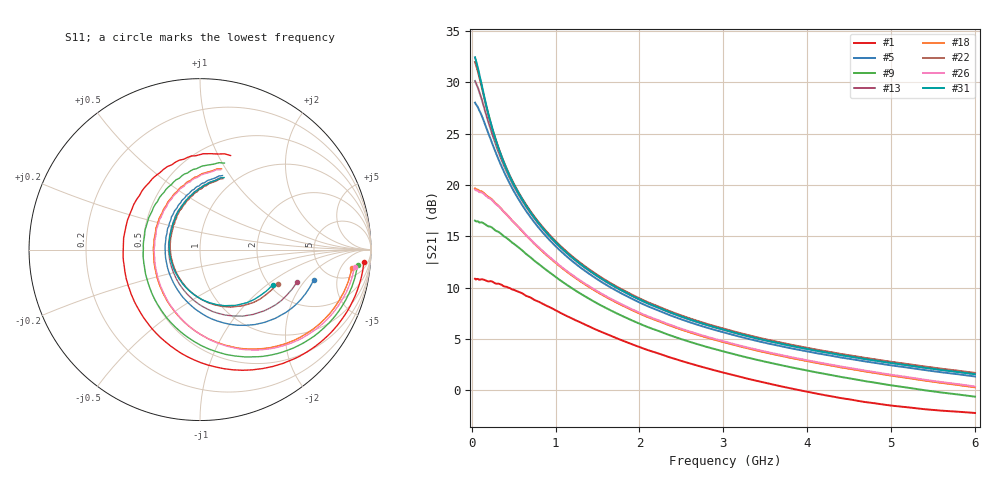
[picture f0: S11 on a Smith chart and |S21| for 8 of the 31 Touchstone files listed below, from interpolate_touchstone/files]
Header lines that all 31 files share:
! MDIF S-parameter v. bias file
! Device data file deembeded for feedlines and parallel
! Feed-files: PR017V01_150413_Feed1.s2p, PR017V01_150413_Feed2.s2p
! Parallel-file: PR017V01_150413_Par.s2p
# MHz S MA R 50
!  Freq-MHz  S11-mag  S11-arg  S21-mag  S21-arg  S12-mag  S12-arg  S22-mag  S22-arg
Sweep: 40 MHz to 6 GHz
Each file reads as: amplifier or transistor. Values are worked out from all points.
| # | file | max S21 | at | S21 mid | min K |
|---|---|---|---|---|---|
| 1 | BFU550A_03V3_001mA_SP.s2p | 10.9 dB | 40 MHz | 5.5 dB at 1.6 GHz | 0.01 |
| 2 | BFU550A_03V3_002mA_SP.s2p | 16.5 dB | 40 MHz | 7.9 dB at 1.6 GHz | 0.03 |
| 3 | BFU550A_03V3_003mA_SP.s2p | 19.7 dB | 40 MHz | 8.9 dB at 1.6 GHz | 0.05 |
| 4 | BFU550A_03V3_005mA_SP.s2p | 23.5 dB | 40 MHz | 9.7 dB at 1.6 GHz | 0.07 |
| 5 | BFU550A_03V3_010mA_SP.s2p | 28.0 dB | 40 MHz | 10.3 dB at 1.6 GHz | 0.12 |
| 6 | BFU550A_03V3_015mA_SP.s2p | 30.2 dB | 40 MHz | 10.3 dB at 1.6 GHz | 0.17 |
| 7 | BFU550A_03V3_035mA_SP.s2p | 31.9 dB | 40 MHz | 7.4 dB at 1.6 GHz | 0.39 |
| 8 | BFU550A_05V0_001mA_SP.s2p | 10.9 dB | 40 MHz | 5.6 dB at 1.6 GHz | 0.01 |
| 9 | BFU550A_05V0_002mA_SP.s2p | 16.5 dB | 40 MHz | 8.0 dB at 1.6 GHz | 0.03 |
| 10 | BFU550A_05V0_003mA_SP.s2p | 19.7 dB | 40 MHz | 9.0 dB at 1.6 GHz | 0.05 |
| 11 | BFU550A_05V0_005mA_SP.s2p | 23.5 dB | 40 MHz | 9.9 dB at 1.6 GHz | 0.07 |
| 12 | BFU550A_05V0_010mA_SP.s2p | 28.0 dB | 40 MHz | 10.5 dB at 1.6 GHz | 0.12 |
| 13 | BFU550A_05V0_015mA_SP.s2p | 30.1 dB | 40 MHz | 10.6 dB at 1.6 GHz | 0.17 |
| 14 | BFU550A_05V0_025mA_SP.s2p | 32.1 dB | 40 MHz | 10.3 dB at 1.6 GHz | 0.24 |
| 15 | BFU550A_05V0_035mA_SP.s2p | 32.4 dB | 40 MHz | 9.0 dB at 1.6 GHz | 0.33 |
| 16 | BFU550A_08V0_001mA_SP.s2p | 10.8 dB | 40 MHz | 5.6 dB at 1.6 GHz | 0.02 |
| 17 | BFU550A_08V0_002mA_SP.s2p | 16.5 dB | 40 MHz | 8.1 dB at 1.6 GHz | 0.03 |
| 18 | BFU550A_08V0_003mA_SP.s2p | 19.7 dB | 40 MHz | 9.1 dB at 1.6 GHz | 0.05 |
| 19 | BFU550A_08V0_005mA_SP.s2p | 23.4 dB | 40 MHz | 10.0 dB at 1.6 GHz | 0.07 |
| 20 | BFU550A_08V0_010mA_SP.s2p | 27.9 dB | 40 MHz | 10.6 dB at 1.6 GHz | 0.12 |
| 21 | BFU550A_08V0_015mA_SP.s2p | 30.0 dB | 40 MHz | 10.8 dB at 1.6 GHz | 0.17 |
| 22 | BFU550A_08V0_025mA_SP.s2p | 32.0 dB | 40 MHz | 10.7 dB at 1.6 GHz | 0.22 |
| 23 | BFU550A_08V0_035mA_SP.s2p | 32.7 dB | 40 MHz | 10.2 dB at 1.6 GHz | 0.27 |
| 24 | BFU550A_12V0_001mA_SP.s2p | 10.8 dB | 40 MHz | 5.7 dB at 1.6 GHz | 0.03 |
| 25 | BFU550A_12V0_002mA_SP.s2p | 16.4 dB | 40 MHz | 8.2 dB at 1.6 GHz | 0.05 |
| 26 | BFU550A_12V0_003mA_SP.s2p | 19.6 dB | 40 MHz | 9.2 dB at 1.6 GHz | 0.08 |
| 27 | BFU550A_12V0_005mA_SP.s2p | 23.3 dB | 40 MHz | 10.1 dB at 1.6 GHz | 0.11 |
| 28 | BFU550A_12V0_010mA_SP.s2p | 27.7 dB | 40 MHz | 10.7 dB at 1.6 GHz | 0.17 |
| 29 | BFU550A_12V0_015mA_SP.s2p | 29.7 dB | 40 MHz | 10.9 dB at 1.6 GHz | 0.21 |
| 30 | BFU550A_12V0_025mA_SP.s2p | 31.7 dB | 40 MHz | 10.9 dB at 1.6 GHz | 0.24 |
| 31 | BFU550A_12V0_035mA_SP.s2p | 32.4 dB | 40 MHz | 10.6 dB at 1.6 GHz | 0.27 |
